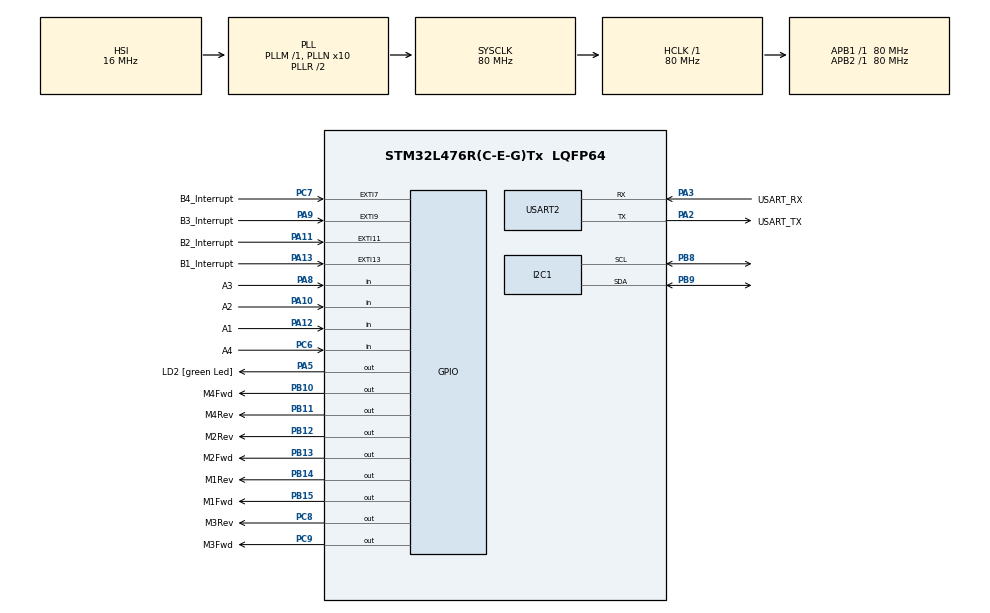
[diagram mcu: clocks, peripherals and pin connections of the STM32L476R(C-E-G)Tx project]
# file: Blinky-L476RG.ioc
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I2C1.Timing=0x10909CEC
Mcu.Family=STM32L4
Mcu.Name=STM32L476R(C-E-G)Tx
Mcu.Package=LQFP64
NVIC.PriorityGroup=NVIC_PRIORITYGROUP_4
PA10.GPIO_Label=A2
PA10.Signal=GPIO_Input
PA11.GPIO_Label=B2_Interrupt
PA11.Signal=GPXTI11
PA12.GPIO_Label=A1
PA12.Signal=GPIO_Input
PA13\ (JTMS-SWDIO).GPIO_Label=B1_Interrupt
PA13\ (JTMS-SWDIO).Signal=GPXTI13
PA14\ (JTCK-SWCLK).GPIO_Label=TCK
PA14\ (JTCK-SWCLK).Signal=SYS_JTCK-SWCLK
PA2.GPIO_Label=USART_TX
PA2.GPIO_Mode=GPIO_MODE_AF_PP
PA2.GPIO_PuPd=GPIO_NOPULL
PA2.GPIO_Speed=GPIO_SPEED_FREQ_VERY_HIGH
PA2.Mode=Asynchronous
PA2.Signal=USART2_TX
PA3.GPIO_Label=USART_RX
PA3.GPIO_Mode=GPIO_MODE_AF_PP
PA3.GPIO_PuPd=GPIO_NOPULL
PA3.GPIO_Speed=GPIO_SPEED_FREQ_VERY_HIGH
PA3.Mode=Asynchronous
PA3.Signal=USART2_RX
PA5.GPIO_Label=LD2 [green Led]
PA5.GPIO_ModeDefaultOutputPP=GPIO_MODE_OUTPUT_PP
PA5.GPIO_PuPd=GPIO_NOPULL
PA5.GPIO_Speed=GPIO_SPEED_FREQ_LOW
PA5.Signal=GPIO_Output
PA8.GPIO_Label=A3
PA8.Signal=GPIO_Input
PA9.GPIO_Label=B3_Interrupt
PA9.Signal=GPXTI9
PB10.GPIO_Label=M4Fwd
PB10.GPIO_Speed=GPIO_SPEED_FREQ_HIGH
PB10.Signal=GPIO_Output
PB11.GPIO_Label=M4Rev
PB11.GPIO_Speed=GPIO_SPEED_FREQ_HIGH
PB11.Signal=GPIO_Output
PB12.GPIO_Label=M2Rev
PB12.GPIO_Speed=GPIO_SPEED_FREQ_HIGH
PB12.Signal=GPIO_Output
PB13.GPIO_Label=M2Fwd
PB13.GPIO_Speed=GPIO_SPEED_FREQ_HIGH
PB13.Signal=GPIO_Output
PB14.GPIO_Label=M1Rev
PB14.GPIO_Speed=GPIO_SPEED_FREQ_HIGH
PB14.Signal=GPIO_Output
PB15.GPIO_Label=M1Fwd
PB15.GPIO_Speed=GPIO_SPEED_FREQ_HIGH
PB15.Signal=GPIO_Output
PB3\ (JTDO-TRACESWO).GPIO_Label=SWO
PB3\ (JTDO-TRACESWO).Signal=SYS_JTDO-SWO
PB8.Mode=I2C
PB8.Signal=I2C1_SCL
PB9.Mode=I2C
PB9.Signal=I2C1_SDA
PC14-OSC32_IN\ (PC14).Mode=LSE-External-Oscillator
PC14-OSC32_IN\ (PC14).Signal=RCC_OSC32_IN
PC15-OSC32_OUT\ (PC15).Mode=LSE-External-Oscillator
PC15-OSC32_OUT\ (PC15).Signal=RCC_OSC32_OUT
PC6.GPIO_Label=A4
PC6.Signal=GPIO_Input
PC7.GPIO_Label=B4_Interrupt
PC7.Signal=GPXTI7
PC8.GPIO_Label=M3Rev
PC8.GPIO_Speed=GPIO_SPEED_FREQ_HIGH
PC8.Signal=GPIO_Output
PC9.GPIO_Label=M3Fwd
PC9.GPIO_Speed=GPIO_SPEED_FREQ_HIGH
PC9.Signal=GPIO_Output
PH0-OSC_IN\ (PH0).Signal=RCC_OSC_IN
PH1-OSC_OUT\ (PH1).Signal=RCC_OSC_OUT
ProjectManager.HeapSize=0x200
ProjectManager.StackSize=0x400
ProjectManager.TargetToolchain=STM32CubeIDE
RCC.ADCFreq_Value=64000000
RCC.AHBFreq_Value=80000000
RCC.APB1Freq_Value=80000000
RCC.APB1TimFreq_Value=80000000
RCC.APB2Freq_Value=80000000
RCC.APB2TimFreq_Value=80000000
RCC.CortexFreq_Value=80000000
RCC.HCLKFreq_Value=80000000
RCC.HSE_VALUE=8000000
RCC.HSI_VALUE=16000000
RCC.MSI_VALUE=4000000
RCC.PLLN=10
RCC.PLLSourceVirtual=RCC_PLLSOURCE_HSI
RCC.PREFETCH_ENABLE=1
RCC.SYSCLKFreq_VALUE=80000000
RCC.SYSCLKSource=RCC_SYSCLKSOURCE_PLLCLK
RCC.USBFreq_Value=64000000
RCC.VCOOutputFreq_Value=160000000
USART2.VirtualMode-Asynchronous=VM_ASYNC
board=NUCLEO-L476RG

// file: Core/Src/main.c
/* USER CODE BEGIN Header */
/**
  ******************************************************************************
  * @file           : main.c
  * @brief          : Main program body
  ******************************************************************************
  * @attention
  *
  * Copyright (c) 2024 STMicroelectronics.
  * All rights reserved.
  *
  * This software is licensed under terms that can be found in the LICENSE file
  * in the root directory of this software component.
  * If no LICENSE file comes with this software, it is provided AS-IS.
  *
  ******************************************************************************
  */
/* USER CODE END Header */
#include "main.h"

/* USER CODE BEGIN Includes */
#include <stdio.h>
#include <string.h>
/* USER CODE END Includes */

I2C_HandleTypeDef hi2c1;

UART_HandleTypeDef huart2;

void SystemClock_Config(void);
static void MX_GPIO_Init(void);
static void MX_USART2_UART_Init(void);
static void MX_I2C1_Init(void);

/* USER CODE BEGIN 0 */
unsigned long lastTime;
double InputX, OutputX, SetpointX;
double InputY, OutputY, SetpointY;
double errSumX, lastErrX;
double errSumY, lastErrY;
double kp, ki, kd;
int SampleTime = 10;
double currentX;
double currentY;
int ticks1, ticks2, ticks3, ticks4;
/* USER CODE END 0 */

int main(void)
{

  /* MCU Configuration--------------------------------------------------------*/

  /* Reset of all peripherals, Initializes the Flash interface and the Systick. */
  HAL_Init();

  /* Configure the system clock */
  SystemClock_Config();

  /* Initialize all configured peripherals */
  MX_GPIO_Init();
  MX_USART2_UART_Init();
  MX_I2C1_Init();

  /* Infinite loop */
  /* USER CODE BEGIN WHILE */
  while (1)
  {

	readGyro();
	computeX();
	computeY();

    /* USER CODE END WHILE */

  }
}

void SystemClock_Config(void)
{
  RCC_OscInitTypeDef RCC_OscInitStruct = {0};
  RCC_ClkInitTypeDef RCC_ClkInitStruct = {0};

  /** Configure the main internal regulator output voltage
  */
  if (HAL_PWREx_ControlVoltageScaling(PWR_REGULATOR_VOLTAGE_SCALE1) != HAL_OK)
  {
    Error_Handler();
  }

  /** Initializes the RCC Oscillators according to the specified parameters
  * in the RCC_OscInitTypeDef structure.
  */
  RCC_OscInitStruct.OscillatorType = RCC_OSCILLATORTYPE_HSI;
  RCC_OscInitStruct.HSIState = RCC_HSI_ON;
  RCC_OscInitStruct.HSICalibrationValue = RCC_HSICALIBRATION_DEFAULT;
  RCC_OscInitStruct.PLL.PLLState = RCC_PLL_ON;
  RCC_OscInitStruct.PLL.PLLSource = RCC_PLLSOURCE_HSI;
  RCC_OscInitStruct.PLL.PLLM = 1;
  RCC_OscInitStruct.PLL.PLLN = 10;
  RCC_OscInitStruct.PLL.PLLP = RCC_PLLP_DIV7;
  RCC_OscInitStruct.PLL.PLLQ = RCC_PLLQ_DIV2;
  RCC_OscInitStruct.PLL.PLLR = RCC_PLLR_DIV2;
  if (HAL_RCC_OscConfig(&RCC_OscInitStruct) != HAL_OK)
  {
    Error_Handler();
  }

  /** Initializes the CPU, AHB and APB buses clocks
  */
  RCC_ClkInitStruct.ClockType = RCC_CLOCKTYPE_HCLK|RCC_CLOCKTYPE_SYSCLK
                              |RCC_CLOCKTYPE_PCLK1|RCC_CLOCKTYPE_PCLK2;
  RCC_ClkInitStruct.SYSCLKSource = RCC_SYSCLKSOURCE_PLLCLK;
  RCC_ClkInitStruct.AHBCLKDivider = RCC_SYSCLK_DIV1;
  RCC_ClkInitStruct.APB1CLKDivider = RCC_HCLK_DIV1;
  RCC_ClkInitStruct.APB2CLKDivider = RCC_HCLK_DIV1;

  if (HAL_RCC_ClockConfig(&RCC_ClkInitStruct, FLASH_LATENCY_4) != HAL_OK)
  {
    Error_Handler();
  }
}

static void MX_I2C1_Init(void)
{

  hi2c1.Instance = I2C1;
  hi2c1.Init.Timing = 0x10909CEC;
  hi2c1.Init.OwnAddress1 = 0;
  hi2c1.Init.AddressingMode = I2C_ADDRESSINGMODE_7BIT;
  hi2c1.Init.DualAddressMode = I2C_DUALADDRESS_DISABLE;
  hi2c1.Init.OwnAddress2 = 0;
  hi2c1.Init.OwnAddress2Masks = I2C_OA2_NOMASK;
  hi2c1.Init.GeneralCallMode = I2C_GENERALCALL_DISABLE;
  hi2c1.Init.NoStretchMode = I2C_NOSTRETCH_DISABLE;
  if (HAL_I2C_Init(&hi2c1) != HAL_OK)
  {
    Error_Handler();
  }

  /** Configure Analogue filter
  */
  if (HAL_I2CEx_ConfigAnalogFilter(&hi2c1, I2C_ANALOGFILTER_ENABLE) != HAL_OK)
  {
    Error_Handler();
  }

  /** Configure Digital filter
  */
  if (HAL_I2CEx_ConfigDigitalFilter(&hi2c1, 0) != HAL_OK)
  {
    Error_Handler();
  }

}

static void MX_USART2_UART_Init(void)
{

  huart2.Instance = USART2;
  huart2.Init.BaudRate = 115200;
  huart2.Init.WordLength = UART_WORDLENGTH_8B;
  huart2.Init.StopBits = UART_STOPBITS_1;
  huart2.Init.Parity = UART_PARITY_NONE;
  huart2.Init.Mode = UART_MODE_TX_RX;
  huart2.Init.HwFlowCtl = UART_HWCONTROL_NONE;
  huart2.Init.OverSampling = UART_OVERSAMPLING_16;
  huart2.Init.OneBitSampling = UART_ONE_BIT_SAMPLE_DISABLE;
  huart2.AdvancedInit.AdvFeatureInit = UART_ADVFEATURE_NO_INIT;
  if (HAL_UART_Init(&huart2) != HAL_OK)
  {
    Error_Handler();
  }

}

static void MX_GPIO_Init(void)
{
  GPIO_InitTypeDef GPIO_InitStruct = {0};

  /* GPIO Ports Clock Enable */
  __HAL_RCC_GPIOC_CLK_ENABLE();
  __HAL_RCC_GPIOH_CLK_ENABLE();
  __HAL_RCC_GPIOA_CLK_ENABLE();
  __HAL_RCC_GPIOB_CLK_ENABLE();

  /*Configure GPIO pin Output Level */
  HAL_GPIO_WritePin(LD2_GPIO_Port, LD2_Pin, GPIO_PIN_RESET);

  /*Configure GPIO pin Output Level */
  HAL_GPIO_WritePin(GPIOB, M4Fwd_Pin|M4Rev_Pin|M2Rev_Pin|M2Fwd_Pin
                          |M1Rev_Pin|M1Fwd_Pin, GPIO_PIN_RESET);

  /*Configure GPIO pin Output Level */
  HAL_GPIO_WritePin(GPIOC, M3Rev_Pin|M3Fwd_Pin, GPIO_PIN_RESET);

  /*Configure GPIO pin : LD2_Pin */
  GPIO_InitStruct.Pin = LD2_Pin;
  GPIO_InitStruct.Mode = GPIO_MODE_OUTPUT_PP;
  GPIO_InitStruct.Pull = GPIO_NOPULL;
  GPIO_InitStruct.Speed = GPIO_SPEED_FREQ_LOW;
  HAL_GPIO_Init(LD2_GPIO_Port, &GPIO_InitStruct);

  /*Configure GPIO pins : M4Fwd_Pin M4Rev_Pin M2Rev_Pin M2Fwd_Pin
                           M1Rev_Pin M1Fwd_Pin */
  GPIO_InitStruct.Pin = M4Fwd_Pin|M4Rev_Pin|M2Rev_Pin|M2Fwd_Pin
                          |M1Rev_Pin|M1Fwd_Pin;
  GPIO_InitStruct.Mode = GPIO_MODE_OUTPUT_PP;
  GPIO_InitStruct.Pull = GPIO_NOPULL;
  GPIO_InitStruct.Speed = GPIO_SPEED_FREQ_HIGH;
  HAL_GPIO_Init(GPIOB, &GPIO_InitStruct);

  /*Configure GPIO pin : A4_Pin */
  GPIO_InitStruct.Pin = A4_Pin;
  GPIO_InitStruct.Mode = GPIO_MODE_INPUT;
  GPIO_InitStruct.Pull = GPIO_NOPULL;
  HAL_GPIO_Init(A4_GPIO_Port, &GPIO_InitStruct);

  /*Configure GPIO pin : B4_Interrupt_Pin */
  GPIO_InitStruct.Pin = B4_Interrupt_Pin;
  GPIO_InitStruct.Mode = GPIO_MODE_IT_RISING;
  GPIO_InitStruct.Pull = GPIO_NOPULL;
  HAL_GPIO_Init(B4_Interrupt_GPIO_Port, &GPIO_InitStruct);

  /*Configure GPIO pins : M3Rev_Pin M3Fwd_Pin */
  GPIO_InitStruct.Pin = M3Rev_Pin|M3Fwd_Pin;
  GPIO_InitStruct.Mode = GPIO_MODE_OUTPUT_PP;
  GPIO_InitStruct.Pull = GPIO_NOPULL;
  GPIO_InitStruct.Speed = GPIO_SPEED_FREQ_HIGH;
  HAL_GPIO_Init(GPIOC, &GPIO_InitStruct);

  /*Configure GPIO pins : A3_Pin A2_Pin A1_Pin */
  GPIO_InitStruct.Pin = A3_Pin|A2_Pin|A1_Pin;
  GPIO_InitStruct.Mode = GPIO_MODE_INPUT;
  GPIO_InitStruct.Pull = GPIO_NOPULL;
  HAL_GPIO_Init(GPIOA, &GPIO_InitStruct);

  /*Configure GPIO pins : B3_Interrupt_Pin B2_Interrupt_Pin B1_Interrupt_Pin */
  GPIO_InitStruct.Pin = B3_Interrupt_Pin|B2_Interrupt_Pin|B1_Interrupt_Pin;
  GPIO_InitStruct.Mode = GPIO_MODE_IT_RISING;
  GPIO_InitStruct.Pull = GPIO_NOPULL;
  HAL_GPIO_Init(GPIOA, &GPIO_InitStruct);

}

/* USER CODE BEGIN 4 */

void HAL_GPIO_EXTI_Callback(uint16_t GPIO_Pin)
{
  /* Prevent unused argument(s) compilation warning */

	if(GPIO_Pin == B1_Interrupt_Pin){
		if(HAL_GPIO_ReadPin(GPIOA, A1_Pin) == GPIO_PIN_SET){
			ticks1 += 1;
		}
		else{
			ticks1 -= 1;
		}
	}
	else if(GPIO_Pin == B2_Interrupt_Pin){
		if(HAL_GPIO_ReadPin(GPIOA, A2_Pin) == GPIO_PIN_SET){
			ticks2 += 1;
		}
		else{
			ticks2 -= 1;
		}
	}
	else if(GPIO_Pin == B3_Interrupt_Pin){
		if(HAL_GPIO_ReadPin(GPIOA, A3_Pin) == GPIO_PIN_SET){
			ticks3 += 1;
		}
		else{
			ticks3 -= 1;
		}
	}
	else if(GPIO_Pin == B4_Interrupt_Pin){
		if(HAL_GPIO_ReadPin(GPIOC, A4_Pin) == GPIO_PIN_SET){
			ticks4 += 1;
		}
		else{
			ticks4 -= 1;
		}
	}
  /* NOTE: This function should not be modified, when the callback is needed,
           the HAL_GPIO_EXTI_Callback could be implemented in the user file
   */
}

void SetTunings(double Kp, double Ki, double Kd)
{
  double SampleTimeInSec = ((double)SampleTime)/1000;
   kp = Kp;
   ki = Ki * SampleTimeInSec;
   kd = Kd / SampleTimeInSec;
}

void SetSampleTime(int NewSampleTime)
{
   if (NewSampleTime > 0)
   {
      double ratio  = (double)NewSampleTime
                      / (double)SampleTime;
      ki *= ratio;
      kd /= ratio;
      SampleTime = (unsigned long)NewSampleTime;
   }
}

void ComputeX()
{
   unsigned long now = HAL_GetTick();
   int timeChange = (now - lastTime);
   if(timeChange>=SampleTime)
   {
      /*Compute all the working error variables*/
      double error = SetpointX - InputX;
      errSumX += error;
      double dErrX = (error - lastErrX);

      /*Compute PID Output*/
      OutputX = kp * error + ki * errSumX + kd * dErrX;

      /*Remember some variables for next time*/
      lastErrX = error;
      lastTime = now;

      moveToX1Tick(angleToTicks(OutputX));
      moveToX2Tick(angleToTicks(OutputX));
   }
}

void ComputeY()
{
   unsigned long now = HAL_GetTick();
   int timeChange = (now - lastTime);
   if(timeChange>=SampleTime)
   {
      /*Compute all the working error variables*/
      double error = SetpointY - InputY;
      errSumY += error;
      double dErrY = (error - lastErrY);

      /*Compute PID Output*/
      OutputY = kp * error + ki * errSumY + kd * dErrY;

      /*Remember some variables for next time*/
      lastErrY = error;
      lastTime = now;

      moveToY1Tick(angleToTicks(OutputY));
      moveToY2Tick(angleToTicks(OutputY));
   }
}

void drive(int mot, bool fwd){
	switch(mot){
	case 1:
		if(fwd){
			HAL_GPIO_WritePin(GPIOB, M1Fwd_Pin, GPIO_PIN_SET);
			HAL_Delay(10);
			HAL_GPIO_WritePin(GPIOB, M1Fwd_Pin, GPIO_PIN_RESET);
			return;
		}
		else{
			HAL_GPIO_WritePin(GPIOB, M1Rev_Pin, GPIO_PIN_SET);
			HAL_Delay(10);
			HAL_GPIO_WritePin(GPIOB, M1Rev_Pin, GPIO_PIN_RESET);
			return;
		}
		break;
	case 2:
		if(fwd){
			HAL_GPIO_WritePin(GPIOB, M2Fwd_Pin, GPIO_PIN_SET);
			HAL_Delay(10);
			HAL_GPIO_WritePin(GPIOB, M2Fwd_Pin, GPIO_PIN_RESET);
			return;
		}
		else{
			HAL_GPIO_WritePin(GPIOB, M2Rev_Pin, GPIO_PIN_SET);
			HAL_Delay(10);
			HAL_GPIO_WritePin(GPIOB, M2Rev_Pin, GPIO_PIN_RESET);
			return;
		}
		break;
	case 3:
		if(fwd){
			HAL_GPIO_WritePin(GPIOC, M3Fwd_Pin, GPIO_PIN_SET);
			HAL_Delay(10);
			HAL_GPIO_WritePin(GPIOC, M3Fwd_Pin, GPIO_PIN_RESET);
			return;
		}
		else{
			HAL_GPIO_WritePin(GPIOC, M3Rev_Pin, GPIO_PIN_SET);
			HAL_Delay(10);
			HAL_GPIO_WritePin(GPIOC, M3Rev_Pin, GPIO_PIN_RESET);
			return;
		}
		break;
	case 4:
		if(fwd){
			HAL_GPIO_WritePin(GPIOB, M4Fwd_Pin, GPIO_PIN_SET);
			HAL_Delay(10);
			HAL_GPIO_WritePin(GPIOB, M4Fwd_Pin, GPIO_PIN_RESET);
			return;
		}
		else{
			HAL_GPIO_WritePin(GPIOB, M4Rev_Pin, GPIO_PIN_SET);
			HAL_Delay(10);
			HAL_GPIO_WritePin(GPIOB, M4Rev_Pin, GPIO_PIN_RESET);
			return;
		}
		break;
	}
}

void moveToX1Tick(double set){
	if(ticks1 == set){
		return;
	}
	while(ticks1 < set){
		drive(1, true);
	}
	while(ticks1 > set){
		drive(1, false);
	}
}

void moveToX2Tick(double set){
	if(ticks2 == set){
		return;
	}
	while(ticks2 < set){
		drive(2, true);
	}
	while(ticks2 > set){
		drive(2, false);
	}
}

void moveToY1Tick(double set){
	if(ticks3 == set){
		return;
	}
	while(ticks3 < set){
		drive(3, true);
	}
	while(ticks3 > set){
		drive(4, false);
	}
}

void moveToY2Tick(double set){
	if(ticks4 == set){
		return;
	}
	while(ticks4 < set){
		drive(4, true);
	}
	while(ticks4 > set){
		drive(4, false);
	}
}

void readGyro(){
	/*
	 *
	 * Open register x1B, write x20 for 1000deg/s - configuration only
	 * Store current time, calculate difference from stored value at previous measurement
	 * Open register x43 to x46, read all values
	 * every 2 bytes is X, Y - divide each one by 32.8
	 * offset by +0.56
	 * add this, *elapsed time to the existing angle
	 * set inputX and inputY values
	 *
	 */
}

int angleToTicks(int maxTicks, double angle){
	return (angle/180)*maxTicks;
}

/* USER CODE END 4 */

void Error_Handler(void)
{
  __disable_irq();
  while (1)
  {
  }
}
